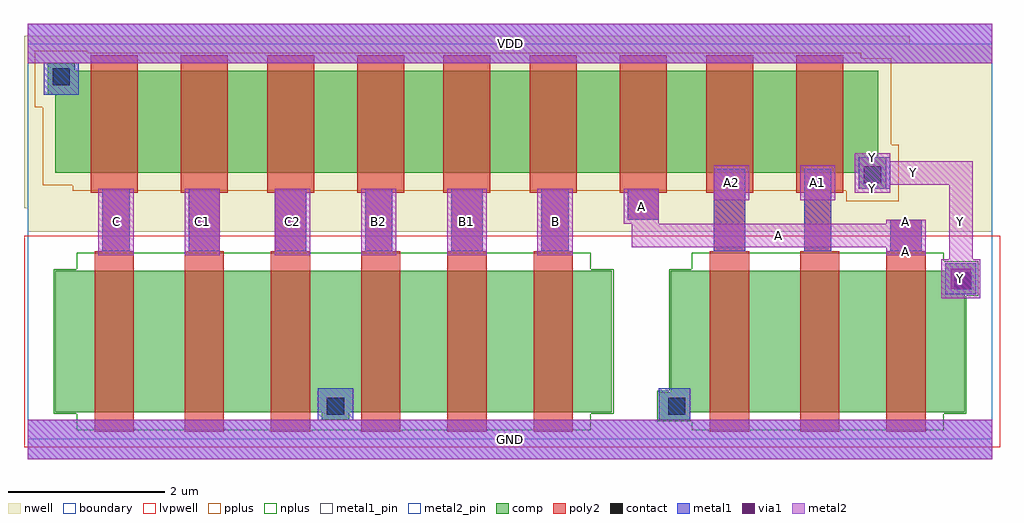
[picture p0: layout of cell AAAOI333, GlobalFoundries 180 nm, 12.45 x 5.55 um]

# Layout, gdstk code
import gdstk
lib = gdstk.Library(unit=1e-6, precision=1e-09)
def R(c, l, rs):  # rectangles x0, y0, x1, y1
    for r in rs: c.add(gdstk.rectangle(r[:2], r[2:], *l))
def A(c, l, x, y, w, h, nx, ny, dx, dy):  # array of equal rectangles
    R(c, l, [(x+i*dx, y+j*dy, x+i*dx+w, y+j*dy+h) for i in range(nx) for j in range(ny)])
boundary = (0, 0)
nwell = (21, 0)
comp = (22, 0)
poly2 = (30, 0)
pplus = (31, 0)
nplus = (32, 0)
contact = (33, 0)
metal1 = (34, 0)
metal1_pin = (34, 10)
via1 = (35, 0)
metal2 = (36, 0)
metal2_pin = (36, 10)
lvpwell = (204, 0)

aaaoi333 = lib.new_cell('AAAOI333')
R(aaaoi333, boundary, [(0,0,12.3,5.05)])
R(aaaoi333, nwell, [(0,2.65,12.3,2.95), (-0.05,2.95,12.3,5.05), (-0.05,5.05,11.25,5.15)])
R(aaaoi333, comp, [(3.75,0.25,4.1,0.35), (8.05,0.25,8.45,0.35), (0.35,0.35,7.45,2.15), (8.05,0.35,11.95,0.6), (8.2,0.6,11.95,1.85), (8.2,1.85,12.1,2.15), (11.7,2.15,12.1,2.25), (10.6,3.2,10.95,3.4), (0.35,3.4,10.95,3.6), (0.35,3.6,10.85,4.4), (0.25,4.4,10.85,4.7), (0.25,4.7,0.6,4.8)])
A(aaaoi333, poly2, 4.25, 0.1, 0.5, 2.3, 3, 1, 1.1, 0)
A(aaaoi333, poly2, 4.2, 3.15, 0.6, 1.75, 3, 1, 1.1, 0)
R(aaaoi333, poly2, [(0.85,0.1,1.35,2.4), (2,0.1,2.5,2.4), (3.1,0.1,3.6,2.4), (8.7,0.1,9.2,2.4), (9.85,0.1,10.35,2.4), (10.95,0.1,11.45,2.4), (0.95,2.4,1.3,3.15), (2.05,2.4,2.45,3.15), (3.15,2.4,3.55,3.15), (4.3,2.4,4.65,3.15), (5.4,2.4,5.8,3.15), (6.55,2.4,6.9,3.15), (8.75,2.4,9.15,3.15), (9.9,2.4,10.25,3.15), (11,2.4,11.4,2.8), (7.65,2.8,8.05,3.15), (0.8,3.15,1.4,4.9), (1.95,3.15,2.55,4.9), (3.05,3.15,3.65,4.9), (7.55,3.15,8.15,4.9), (8.65,3.15,9.25,4.9), (9.8,3.15,10.4,4.9)])
R(aaaoi333, pplus, [(10.44,3.04,11.11,3.17), (0.57,3.17,11.11,3.24), (0.19,3.24,11.11,3.76), (0.19,3.76,11.01,4.24), (0.09,4.24,11.01,4.86), (0.09,4.86,10.63,4.93), (0.09,4.93,0.76,4.96)])
R(aaaoi333, nplus, [(0.62,0.12,7.18,0.33), (8.47,0.12,11.68,0.23), (8.03,0.23,11.68,0.33), (0.33,0.33,7.47,2.17), (8.03,0.33,11.97,0.62), (8.18,0.62,11.97,1.83), (8.18,1.83,12.12,2.17), (0.62,2.17,7.18,2.38), (8.47,2.17,12.12,2.27), (8.47,2.27,11.68,2.38)])
R(aaaoi333, contact, [(3.815,0.315,4.035,0.535), (8.165,0.315,8.385,0.535), (11.815,1.915,12.035,2.135), (10.665,3.265,10.885,3.485), (0.315,4.515,0.535,4.735)])
R(aaaoi333, metal1, [(0,-0.25,12.3,0.25), (3.7,0.25,4.15,0.65), (8.05,0.25,8.45,0.65), (11.7,1.85,12.1,2.25), (0.95,2.4,1.3,3.2), (2.05,2.4,2.45,3.2), (3.15,2.4,3.55,3.2), (4.3,2.4,4.65,3.2), (5.4,2.4,5.8,3.2), (6.55,2.4,6.9,3.2), (8.75,2.4,9.15,3.45), (9.9,2.4,10.25,3.45), (11,2.4,11.4,2.8), (7.65,2.8,8.05,3.2), (10.6,3.2,11,3.6), (0.2,4.4,0.65,4.8), (0,4.8,12.3,5.3)])
R(aaaoi333, metal1_pin, [(0,-0.25,12.3,0.25), (0,4.8,12.3,5.3)])
R(aaaoi333, via1, [(11.77,1.92,12.03,2.18)])
R(aaaoi333, metal2, [(0,-0.25,12.3,0.25), (11.65,1.8,12.15,2.3), (11.75,2.3,12.05,3.25), (0.9,2.35,1.35,3.2), (2,2.35,2.45,3.2), (3.15,2.35,3.6,3.2), (4.25,2.35,4.7,3.2), (5.35,2.35,5.85,3.2), (6.5,2.35,6.95,3.2), (10.95,2.35,11.45,2.45), (7.7,2.45,11.45,2.75), (7.6,2.75,8.05,3.2), (10.95,2.75,11.45,2.8), (8.75,3.05,9.2,3.5), (9.85,3.05,10.3,3.5), (10.55,3.15,11,3.25), (10.55,3.25,12.05,3.55), (10.55,3.55,11,3.65), (0,4.8,12.3,5.3)])
R(aaaoi333, metal2_pin, [(11.65,1.8,12.15,2.3), (11.75,2.3,12.05,3.25), (0.9,2.35,1.35,3.2), (2,2.35,2.45,3.2), (3.15,2.35,3.6,3.2), (4.25,2.35,4.7,3.2), (5.35,2.35,5.85,3.2), (6.5,2.35,6.95,3.2), (10.95,2.35,11.45,2.45), (7.7,2.45,11.45,2.75), (7.6,2.75,8.05,3.2), (10.95,2.75,11.45,2.8), (8.75,3.05,9.2,3.5), (9.85,3.05,10.3,3.5), (10.55,3.15,11,3.25), (10.55,3.25,12.05,3.55), (10.55,3.55,11,3.65)])
R(aaaoi333, lvpwell, [(-0.05,-0.1,12.4,2.6)])
aaaoi333.add(gdstk.Label('VDD', (6.15,5.05), layer=34, texttype=10))
aaaoi333.add(gdstk.Label('GND', (6.15,0), layer=34, texttype=10))
aaaoi333.add(gdstk.Label('Y', (11.9,2.05), layer=36, texttype=10))
aaaoi333.add(gdstk.Label('Y', (10.775,3.2), layer=36, texttype=10))
aaaoi333.add(gdstk.Label('Y', (11.9,2.775), layer=36, texttype=10))
aaaoi333.add(gdstk.Label('Y', (11.3,3.4), layer=36, texttype=10))
aaaoi333.add(gdstk.Label('Y', (10.775,3.6), layer=36, texttype=10))
aaaoi333.add(gdstk.Label('B2', (4.475,2.775), layer=36, texttype=10))
aaaoi333.add(gdstk.Label('A', (11.2,2.4), layer=36, texttype=10))
aaaoi333.add(gdstk.Label('A', (9.575,2.6), layer=36, texttype=10))
aaaoi333.add(gdstk.Label('A', (11.2,2.775), layer=36, texttype=10))
aaaoi333.add(gdstk.Label('A', (7.825,2.975), layer=36, texttype=10))
aaaoi333.add(gdstk.Label('A1', (10.075,3.275), layer=36, texttype=10))
aaaoi333.add(gdstk.Label('A2', (8.975,3.275), layer=36, texttype=10))
aaaoi333.add(gdstk.Label('B1', (5.6,2.775), layer=36, texttype=10))
aaaoi333.add(gdstk.Label('C', (1.125,2.775), layer=36, texttype=10))
aaaoi333.add(gdstk.Label('C2', (3.375,2.775), layer=36, texttype=10))
aaaoi333.add(gdstk.Label('B', (6.725,2.775), layer=36, texttype=10))
aaaoi333.add(gdstk.Label('C1', (2.225,2.775), layer=36, texttype=10))

lib.write_gds('AAAOI333.gds')
